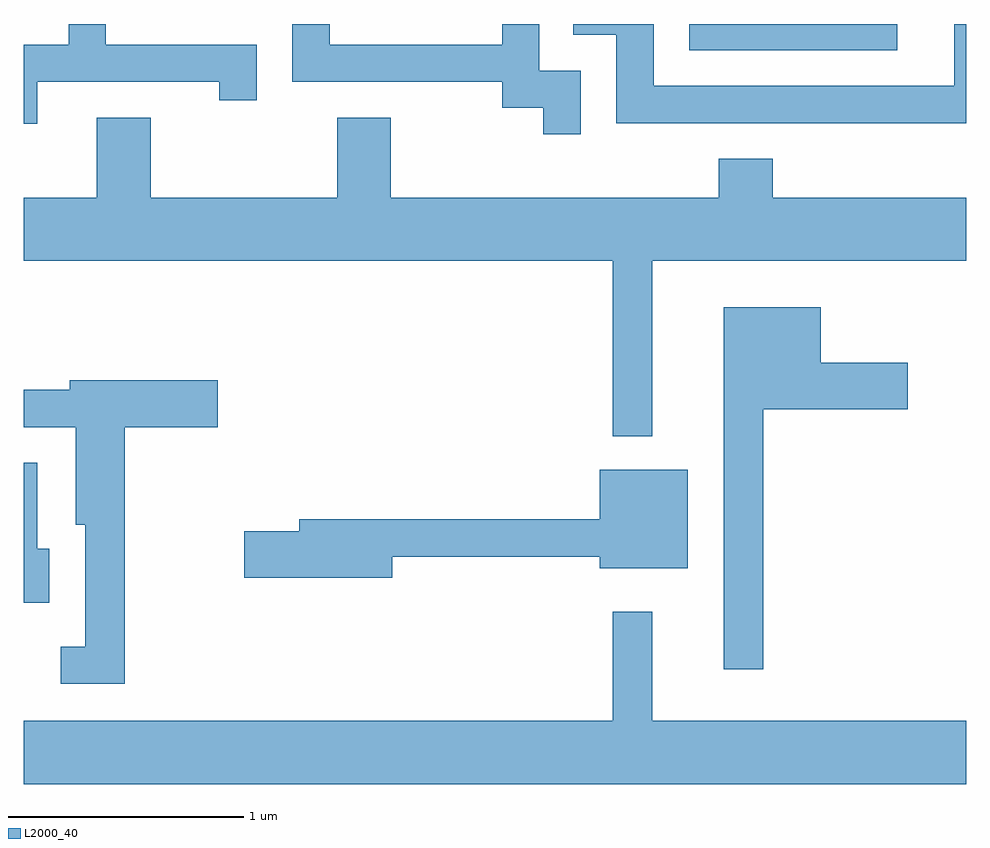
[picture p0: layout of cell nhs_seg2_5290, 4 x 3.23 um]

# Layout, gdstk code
import gdstk
lib = gdstk.Library(unit=1e-6, precision=1e-09)
def R(c, l, rs):  # rectangles x0, y0, x1, y1
    for r in rs: c.add(gdstk.rectangle(r[:2], r[2:], *l))
def P(c, l, *ps):  # polygons
    for p in ps: c.add(gdstk.Polygon(p, *l))
L2000_40 = (2000, 40)

nhs_seg2_5290 = lib.new_cell('nhs_seg2_5290')
R(nhs_seg2_5290, L2000_40, [(344.436,1013.691,345.318,1013.802)])
P(nhs_seg2_5290, L2000_40, [(343.974,1013.604),(343.799,1013.604),(343.799,1013.802),(343.641,1013.802),(343.641,1013.714),(342.909,1013.714),(342.909,1013.802),(342.751,1013.802),(342.751,1013.556),(343.641,1013.556),(343.641,1013.446),(343.816,1013.446),(343.816,1013.333),(343.974,1013.333)],
  [(345.611,1013.802),(345.561,1013.802),(345.561,1013.539),(344.284,1013.539),(344.284,1013.802),(343.943,1013.802),(343.943,1013.756),(344.126,1013.756),(344.126,1013.381),(345.611,1013.381)],
  [(341.669,1013.556),(342.441,1013.556),(342.441,1013.478),(342.599,1013.478),(342.599,1013.714),(341.959,1013.714),(341.959,1013.802),(341.801,1013.802),(341.801,1013.714),(341.611,1013.714),(341.611,1013.378),(341.669,1013.378)],
  [(344.279,1012.796),(345.611,1012.796),(345.611,1013.064),(344.789,1013.064),(344.789,1013.229),(344.561,1013.229),(344.561,1013.064),(343.169,1013.064),(343.169,1013.404),(342.941,1013.404),(342.941,1013.064),(342.149,1013.064),(342.149,1013.404),(341.921,1013.404),(341.921,1013.064),(341.611,1013.064),(341.611,1012.796),(344.111,1012.796),(344.111,1012.053),(344.279,1012.053)],
  [(344.749,1012.166),(345.364,1012.166),(345.364,1012.364),(344.994,1012.364),(344.994,1012.599),(344.581,1012.599),(344.581,1011.063),(344.749,1011.063)],
  [(342.039,1012.091),(342.434,1012.091),(342.434,1012.289),(341.806,1012.289),(341.806,1012.249),(341.611,1012.249),(341.611,1012.091),(341.831,1012.091),(341.831,1011.676),(341.871,1011.676),(341.871,1011.159),(341.768,1011.159),(341.768,1011.001),(342.039,1011.001)],
  [(341.719,1011.574),(341.669,1011.574),(341.669,1011.939),(341.611,1011.939),(341.611,1011.346),(341.719,1011.346)],
  [(343.174,1011.541),(344.056,1011.541),(344.056,1011.491),(344.429,1011.491),(344.429,1011.909),(344.056,1011.909),(344.056,1011.699),(342.781,1011.699),(342.781,1011.649),(342.546,1011.649),(342.546,1011.451),(343.174,1011.451)],
  [(345.611,1010.844),(344.279,1010.844),(344.279,1011.308),(344.111,1011.308),(344.111,1010.844),(341.611,1010.844),(341.611,1010.576),(345.611,1010.576)])

lib.write_gds('nhs_seg2_5290.gds')
